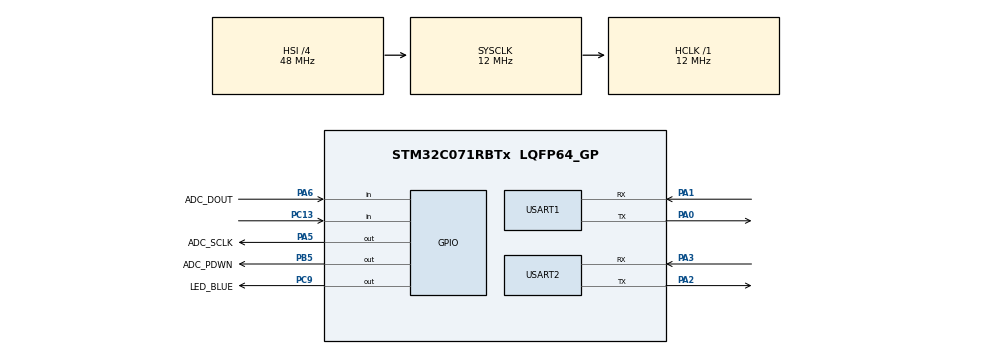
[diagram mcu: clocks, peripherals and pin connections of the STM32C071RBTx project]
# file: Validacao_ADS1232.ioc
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Mcu.Family=STM32C0
Mcu.Name=STM32C071RBTx
Mcu.Package=LQFP64_GP
NVIC.USART1_IRQn=true\:0\:0\:false\:false\:true\:true\:true\:true
NVIC.USART2_IRQn=true\:0\:0\:false\:false\:true\:true\:true\:true
PA0.Mode=Asynchronous
PA0.Signal=USART1_TX
PA1.Mode=Asynchronous
PA1.Signal=USART1_RX
PA2.Mode=Asynchronous
PA2.Signal=USART2_TX
PA3.Mode=Asynchronous
PA3.Signal=USART2_RX
PA5.GPIO_Label=ADC_SCLK
PA5.Signal=GPIO_Output
PA6.GPIO_Label=ADC_DOUT
PA6.GPIO_PuPd=GPIO_NOPULL
PA6.Signal=GPIO_Input
PB5.GPIO_Label=ADC_PDWN
PB5.Signal=GPIO_Output
PC13.GPIO_PuPd=GPIO_PULLUP
PC13.Signal=GPIO_Input
PC9.GPIO_Label=LED_BLUE
PC9.Signal=GPIO_Output
ProjectManager.HeapSize=0x200
ProjectManager.StackSize=0x400
ProjectManager.TargetToolchain=MDK-ARM V5.39
RCC.ADCFreq_Value=12000000
RCC.AHBFreq_Value=12000000
RCC.CortexFreq_Value=12000000
RCC.EXTERNAL_CLOCK_VALUE=12288000
RCC.HCLKFreq_Value=12000000
RCC.HSE_VALUE=8000000
RCC.HSI48_VALUE=48000000
RCC.HSI_VALUE=48000000
RCC.LSE_VALUE=32768
RCC.SYSCLKFreq_VALUE=12000000
USART1.VirtualMode-Asynchronous=VM_ASYNC
USART2.VirtualMode-Asynchronous=VM_ASYNC
board=NUCLEO-C071RB

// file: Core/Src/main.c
/* USER CODE BEGIN Header */
/**
  ******************************************************************************
  * @file           : main.c
  * @brief          : Main program body (v9.1 - Refatorado para Evitar Bug do Compilador)
  ******************************************************************************
  */
/* USER CODE END Header */
#include "main.h"
#include "usart.h"
#include "gpio.h"
#include "ads1232_driver.h"
#include <stdio.h>
#include <stdlib.h>
#include <math.h>

typedef enum {
    STATE_TRANSITION = 0,
    STATE_STABILIZING,
    STATE_LOCKED
} ScaleState_t;
/* USER CODE END PTD */

/* USER CODE BEGIN PD */
#define FILT_WIN_SIZE 64

const float STABILITY_SLOPE_THRESHOLD = 0.003f;
const float STABILITY_SIGMA_THRESHOLD = 0.020f;
const uint32_t TIME_TO_LOCK_MS = 1200;

const float HYSTERESIS_GRAMS = 0.05f;
/* USER CODE END PD */

const uint32_t AUTO_ZERO_COOLDOWN_MS  = 15000;  // período refratário após qualquer tara

/* USER CODE BEGIN PM */
const float    STEP_DETECT_THRESHOLD_G = 0.30f;   // detecta passo > 0,3 g
const uint32_t STEP_GUARD_MS           = 400;
/* USER CODE END PM */

/* USER CODE BEGIN PV */
int32_t readings_buffer[FILT_WIN_SIZE] = {0};
int buffer_index = 0;
int buffer_filled = 0;

long long sum_y = 0;
long long sum_y_sq = 0;
long long sum_xy = 0;
long long sum_x = 0;
long long sum_x_sq = 0;
float regression_denominator = 0.0f;

ScaleState_t scale_state = STATE_TRANSITION;
float locked_weight_grams = 0.0f;
uint32_t stabilizing_start_time = 0;
uint32_t step_guard_until = 0;

int32_t absolute_zero_offset = 0;

const int32_t AUTO_ZERO_THRESHOLD_COUNTS = 1500;
const float   AUTO_ZERO_THRESHOLD_GRAMS  = 0.020f;

const uint32_t auto_zero_time_ms = 3000;
uint32_t near_zero_start_time = 0;
uint32_t last_tare_time = 0;
uint8_t is_near_zero = 0;

/* USER CODE BEGIN PV */
float sigma_g = 0.0f;
float slope_g = 0.0f;
/* USER CODE END PV */

void SystemClock_Config(void);
/* USER CODE BEGIN PFP */
void DWIN_SendData(uint16_t vp_address, int32_t value);
// --- Nova função auxiliar para os cálculos ---
static void Calculate_Statistics_Counts(float* p_avg_y, float* p_sigma_counts, float* p_slope_counts);

static float CountsToGramsGain(int32_t raw_counts);
/* USER CODE END PFP */

/* USER CODE BEGIN 0 */

#define PUTCHAR_PROTOTYPE int fputc(int ch, FILE *f)

PUTCHAR_PROTOTYPE
{
  HAL_UART_Transmit(&huart2, (uint8_t *)&ch, 1, 100);
  return ch;
}

void DWIN_SendData(uint16_t vp_address, int32_t value)
{
    uint8_t dwin_frame[10];
    dwin_frame[0] = 0x5A; dwin_frame[1] = 0xA5; dwin_frame[2] = 0x07;
    dwin_frame[3] = 0x82; dwin_frame[4] = (uint8_t)(vp_address >> 8);
    dwin_frame[5] = (uint8_t)(vp_address); dwin_frame[6] = (uint8_t)(value >> 24);
    dwin_frame[7] = (uint8_t)(value >> 16); dwin_frame[8] = (uint8_t)(value >> 8);
    dwin_frame[9] = (uint8_t)(value);
    HAL_UART_Transmit(&huart1, dwin_frame, 10, 100);
}

static void Calculate_Statistics_Counts(float* p_avg_y, float* p_sigma_counts, float* p_slope_counts)
{
    float average_y = 0.0f;
    *p_avg_y = 0.0f;
    *p_sigma_counts = 0.0f;
    *p_slope_counts = 0.0f;

    if (buffer_filled) {
        long long sum = 0;
        for (int i = 0; i < FILT_WIN_SIZE; i++) {
            sum += readings_buffer[i];
        }
        average_y = (float)((double)sum / (double)FILT_WIN_SIZE);

        long long sum_sq_diff = 0;
        for (int i = 0; i < FILT_WIN_SIZE; i++) {
            long long diff = readings_buffer[i] - (long long)average_y;
            sum_sq_diff += diff * diff;
        }
        float sigma_counts = sqrtf((float)((double)sum_sq_diff / (double)FILT_WIN_SIZE));

        long long sum_xy_local = 0;
        long long sum_x_local = 0;
        long long sum_y_local = 0;
        long long sum_x_sq_local = 0;

        for (int i = 0; i < FILT_WIN_SIZE; i++) {
            sum_xy_local += i * readings_buffer[i];
            sum_x_local  += i;
            sum_y_local  += readings_buffer[i];
            sum_x_sq_local += i * i;
        }

        long long N = FILT_WIN_SIZE;
        long long numerator = (N * sum_xy_local - sum_x_local * sum_y_local);
        long long denominator = (N * sum_x_sq_local - sum_x_local * sum_x_local);

        float slope_counts = 0.0f;
        if (denominator != 0) {
            slope_counts = (float)((double)numerator / (double)denominator);
        }

        *p_avg_y = average_y;
        *p_sigma_counts = sigma_counts;
        *p_slope_counts = slope_counts;
    }
}

static float CountsToGramsGain(int32_t raw_counts)
{
    /* Usa sua função de conversão, sem acessar a tabela diretamente */
    float g1 = ADS1232_ConvertToGrams(raw_counts);
    float g2 = ADS1232_ConvertToGrams(raw_counts + 64); // passo pequeno
    float dg = g2 - g1;
    if (dg <= 0.0f) {
        /* fallback razoável próximo da sua calibração (~6200 counts/g) */
        return 1.0f / 6200.0f;
    }
    return dg / 64.0f;
}

/* USER CODE END 0 */

int main(void)
{
  HAL_Init();

  SystemClock_Config();

  MX_GPIO_Init();
  MX_USART2_UART_Init();
  MX_USART1_UART_Init();

  printf("\r\n--- Balanca de Precisao com ADS1232 e Display DWIN ---\r\n");

  ADS1232_Init();
  HAL_Delay(100);

  absolute_zero_offset = ADS1232_Tare();
  for (int i = 0; i < FILT_WIN_SIZE; i++) {
      readings_buffer[i] = absolute_zero_offset;
  }

  buffer_index = 0;
  buffer_filled = 1;
  is_near_zero = 0;
  near_zero_start_time = HAL_GetTick();
  last_tare_time = HAL_GetTick();

  printf("\r\nSistema pronto. Balanca vazia e tarada.\r\n");
  printf("Driver DWIN Inicializado na USART1.\r\n");

  GPIO_PinState button_state = HAL_GPIO_ReadPin(GPIOC, GPIO_PIN_13);
  GPIO_PinState last_button_state = button_state;
  uint32_t last_debounce_time = HAL_GetTick();

  float weight_in_grams = 0.0f;
	float prev_avg_for_step = 0.0f;
  uint8_t first_avg = 1;

  /* Infinite loop */
  /* USER CODE BEGIN WHILE */
  while (1)
  {
      // --- LÓGICA DE LEITURA DO BOTÃO ---
      GPIO_PinState current_state = HAL_GPIO_ReadPin(GPIOC, GPIO_PIN_13);
      if (current_state != last_button_state) {
          last_debounce_time = HAL_GetTick();
      }
      if ((HAL_GetTick() - last_debounce_time) > 50) {
          if (current_state != button_state) {
              button_state = current_state;
              if (button_state == GPIO_PIN_RESET) {
                  absolute_zero_offset = ADS1232_Tare();
                  scale_state = STATE_TRANSITION;
                  for (int i = 0; i < FILT_WIN_SIZE; i++) {
                      readings_buffer[i] = absolute_zero_offset;
                  }
                  buffer_index  = 0;
                  buffer_filled = 1;
                  weight_in_grams = 0.0f;
                  is_near_zero = 0;
                  near_zero_start_time = HAL_GetTick();
                  last_tare_time = HAL_GetTick();
                  step_guard_until = HAL_GetTick(); // reseta proteção
              }
          }
      }
      last_button_state = current_state;

      // --- LEITURA E PREENCHIMENTO DO BUFFER ---
      int32_t current_reading = ADS1232_Read_Median_of_3();
      readings_buffer[buffer_index] = current_reading;
      buffer_index = (buffer_index + 1) % FILT_WIN_SIZE;
      if (!buffer_filled && buffer_index == 0) {
          buffer_filled = 1;
      }

      float average_y_counts = 0.0f;
      float sigma_counts = 0.0f;
      float slope_counts = 0.0f;

      float current_avg_grams = 0.0f;
      uint8_t is_stable = 0;

      if (buffer_filled) {
          Calculate_Statistics_Counts(&average_y_counts, &sigma_counts, &slope_counts);

          /* Converte média/sigma/slope para GRAMAS usando ganho local */
          float gpc = CountsToGramsGain((int32_t)average_y_counts); // g per count
          current_avg_grams = ADS1232_ConvertToGrams((int32_t)average_y_counts);
          sigma_g = sigma_counts * gpc;
          slope_g = slope_counts * gpc;

          if (sigma_g < STABILITY_SIGMA_THRESHOLD && fabsf(slope_g) < STABILITY_SLOPE_THRESHOLD) {
              is_stable = 1;
          }
      } else {
          current_avg_grams = 0.0f;
      }

			/* --- DETECÇÃO DE DEGRAU (inserção/retirada de peso) --- */
      if (buffer_filled) {
          if (first_avg) {
              prev_avg_for_step = current_avg_grams;
              first_avg = 0;
          }
          float step_delta = fabsf(current_avg_grams - prev_avg_for_step);
          if (step_delta > STEP_DETECT_THRESHOLD_G) {
              /* houve degrau: volta pra TRANSITION e abre guarda p/ anelamento */
              scale_state = STATE_TRANSITION;
              step_guard_until = HAL_GetTick() + STEP_GUARD_MS;
          }
          prev_avg_for_step = current_avg_grams;
      }

      // --- MÁQUINA DE ESTADOS COM HISTERESE ---
      switch(scale_state)
      {
          case STATE_TRANSITION:
              weight_in_grams = current_avg_grams;
              if (is_stable && (HAL_GetTick() > step_guard_until)) {
                  scale_state = STATE_STABILIZING;
                  stabilizing_start_time = HAL_GetTick();
              }
              break;

          case STATE_STABILIZING:
              weight_in_grams = current_avg_grams;
              if (is_stable && (HAL_GetTick() > step_guard_until)) {
                  if (HAL_GetTick() - stabilizing_start_time > TIME_TO_LOCK_MS) {
                      locked_weight_grams = current_avg_grams;
                      scale_state = STATE_LOCKED;
                  }
              } else {
                  scale_state = STATE_TRANSITION;
              }
              break;

          case STATE_LOCKED:
              weight_in_grams = locked_weight_grams;
              if (fabsf(current_avg_grams - locked_weight_grams) > HYSTERESIS_GRAMS) {
                  scale_state = STATE_TRANSITION;
              }
              break;
      }

      /* --- AUTO-ZERO: usa limiar em gramas + estabilidade + cooldown --- */
      uint8_t cooldown_ok = (HAL_GetTick() - last_tare_time) > AUTO_ZERO_COOLDOWN_MS;
      if (cooldown_ok && buffer_filled && fabsf(current_avg_grams) < AUTO_ZERO_THRESHOLD_GRAMS) {
          if (is_near_zero == 0) {
              is_near_zero = 1;
              near_zero_start_time = HAL_GetTick();
          } else if (is_stable && (HAL_GetTick() - near_zero_start_time > auto_zero_time_ms)) {
              absolute_zero_offset = ADS1232_Tare();
              for (int i = 0; i < FILT_WIN_SIZE; i++) {
                  readings_buffer[i] = absolute_zero_offset;
              }
              buffer_index  = 0;
              buffer_filled = 1;
              weight_in_grams = 0.0f;
              scale_state = STATE_TRANSITION;
              is_near_zero = 0;
              near_zero_start_time = HAL_GetTick();
              last_tare_time = HAL_GetTick();
              step_guard_until = HAL_GetTick();
          }
      } else {
          is_near_zero = 0;
      }
      if (is_near_zero && scale_state != STATE_LOCKED) {
          weight_in_grams = 0.0f;
      }

      // --- CONTROLE DE VELOCIDADE DO PRINTF ---
      static uint32_t last_print_time = 0;
      if (HAL_GetTick() - last_print_time > 100) {
          printf("Peso: %.3f | Sigma: %.2f | Slope: %.2f\r\n", weight_in_grams, sigma_g, slope_g);
          DWIN_SendData(0x2000, (int32_t)(weight_in_grams * 1000.0f));
          last_print_time = HAL_GetTick();
      }

  /* USER CODE END WHILE */

  }
}

void SystemClock_Config(void)
{
  RCC_OscInitTypeDef RCC_OscInitStruct = {0};
  RCC_ClkInitTypeDef RCC_ClkInitStruct = {0};
  __HAL_FLASH_SET_LATENCY(FLASH_LATENCY_0);
  RCC_OscInitStruct.OscillatorType = RCC_OSCILLATORTYPE_HSI;
  RCC_OscInitStruct.HSIState = RCC_HSI_ON;
  RCC_OscInitStruct.HSIDiv = RCC_HSI_DIV4;
  RCC_OscInitStruct.HSICalibrationValue = RCC_HSICALIBRATION_DEFAULT;
  if (HAL_RCC_OscConfig(&RCC_OscInitStruct) != HAL_OK)
  {
    Error_Handler();
  }
  RCC_ClkInitStruct.ClockType = RCC_CLOCKTYPE_HCLK|RCC_CLOCKTYPE_SYSCLK
                              |RCC_CLOCKTYPE_PCLK1;
  RCC_ClkInitStruct.SYSCLKSource = RCC_SYSCLKSOURCE_HSI;
  RCC_ClkInitStruct.SYSCLKDivider = RCC_SYSCLK_DIV1;
  RCC_ClkInitStruct.AHBCLKDivider = RCC_HCLK_DIV1;
  RCC_ClkInitStruct.APB1CLKDivider = RCC_APB1_DIV1;
  if (HAL_RCC_ClockConfig(&RCC_ClkInitStruct, FLASH_LATENCY_0) != HAL_OK)
  {
    Error_Handler();
  }
}

/* USER CODE BEGIN 4 */
void Error_Handler(void)
{
  __disable_irq();
  while (1)
  {
  }
}
/* USER CODE END 4 */
